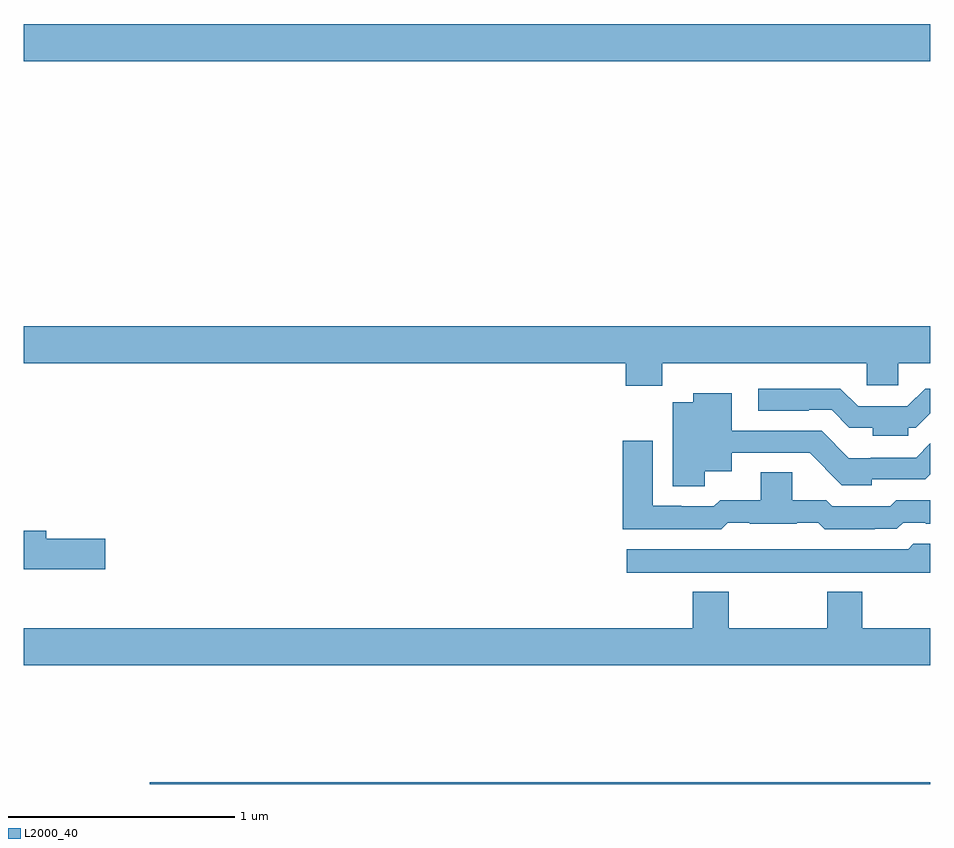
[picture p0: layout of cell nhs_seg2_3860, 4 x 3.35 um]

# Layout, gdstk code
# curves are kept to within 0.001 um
import gdstk
lib = gdstk.Library(unit=1e-6, precision=1e-09)
def R(c, l, rs):  # rectangles x0, y0, x1, y1
    for r in rs: c.add(gdstk.rectangle(r[:2], r[2:], *l))
def P(c, l, *ps):  # polygons
    for p in ps: c.add(gdstk.Polygon(p, *l))
L2000_40 = (2000, 40)

nhs_seg2_3860 = lib.new_cell('nhs_seg2_3860')
R(nhs_seg2_3860, L2000_40, [(315.557,625.8,319,625.808), (315,628.988,319,629.152)])
P(nhs_seg2_3860, L2000_40, [(317.817,627.656),(318.72,627.656),(318.72,627.558),(318.858,627.558),(318.858,627.656),(319,627.656),(319,627.82),(315,627.82),(315,627.656),(317.657,627.656),(317.657,627.557),(317.817,627.557)],
  [(318.903,627.372),(318.936,627.372),(319,627.436),(319,627.544),(318.976,627.544),(318.897,627.465),(318.681,627.465),(318.602,627.544),(318.24,627.544),(318.24,627.447),(318.464,627.447),(318.464,627.45),(318.564,627.45),(318.642,627.372),(318.746,627.372),(318.746,627.336),(318.903,627.336)],
  [(318.004,627.179),(318.124,627.179),(318.124,627.261),(318.468,627.261),(318.537,627.192),(318.535,627.19),(318.608,627.117),(318.741,627.117),(318.741,627.144),(318.978,627.144),(319,627.166),(319,627.302),(318.938,627.24),(318.736,627.24),(318.736,627.237),(318.64,627.237),(318.52,627.357),(318.124,627.357),(318.124,627.523),(317.954,627.523),(317.954,627.484),(317.864,627.484),(317.864,627.113),(318.004,627.113)],
  [(318.106,626.952),(318.202,626.952),(318.202,626.948),(318.41,626.948),(318.41,626.952),(318.506,626.952),(318.534,626.924),(318.852,626.925),(318.879,626.952),(318.979,626.952),(318.979,626.948),(319,626.948),(319,627.052),(318.85,627.052),(318.822,627.024),(318.567,627.024),(318.54,627.051),(318.39,627.051),(318.39,627.176),(318.251,627.176),(318.251,627.052),(318.073,627.052),(318.045,627.024),(317.9,627.024),(317.9,627.028),(317.776,627.028),(317.776,627.313),(317.642,627.313),(317.642,626.924),(318.078,626.924)],
  [(315.361,626.882),(315.1,626.882),(315.1,626.918),(315,626.918),(315,626.747),(315.361,626.747)],
  [(319,626.859),(318.924,626.859),(318.901,626.836),(317.661,626.836),(317.661,626.732),(319,626.732)],
  [(319,626.488),(318.699,626.488),(318.699,626.647),(318.544,626.647),(318.544,626.488),(318.111,626.488),(318.111,626.647),(317.951,626.647),(317.951,626.488),(315,626.488),(315,626.324),(319,626.324)])

lib.write_gds('nhs_seg2_3860.gds')
